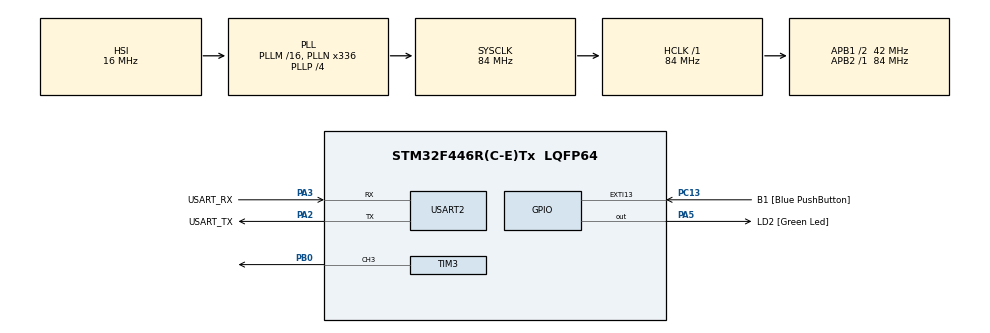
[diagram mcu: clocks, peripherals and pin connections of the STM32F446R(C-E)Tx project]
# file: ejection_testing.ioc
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Mcu.Family=STM32F4
Mcu.Name=STM32F446R(C-E)Tx
Mcu.Package=LQFP64
NVIC.PriorityGroup=NVIC_PRIORITYGROUP_0
PA13.GPIO_Label=TMS
PA13.Mode=Serial_Wire
PA13.Signal=SYS_JTMS-SWDIO
PA14.GPIO_Label=TCK
PA14.Mode=Serial_Wire
PA14.Signal=SYS_JTCK-SWCLK
PA2.GPIO_Label=USART_TX
PA2.Mode=Asynchronous
PA2.Signal=USART2_TX
PA3.GPIO_Label=USART_RX
PA3.Mode=Asynchronous
PA3.Signal=USART2_RX
PA5.GPIO_Label=LD2 [Green Led]
PA5.Signal=GPIO_Output
PB0.Signal=S_TIM3_CH3
PB3.GPIO_Label=SWO
PB3.Signal=SYS_JTDO-SWO
PC13.GPIO_Label=B1 [Blue PushButton]
PC13.GPIO_ModeDefaultEXTI=GPIO_MODE_IT_FALLING
PC13.Signal=GPXTI13
PC14-OSC32_IN.Mode=LSE-External-Oscillator
PC14-OSC32_IN.Signal=RCC_OSC32_IN
PC15-OSC32_OUT.Mode=LSE-External-Oscillator
PC15-OSC32_OUT.Signal=RCC_OSC32_OUT
PH0-OSC_IN.Mode=HSE-External-Oscillator
PH0-OSC_IN.Signal=RCC_OSC_IN
PH1-OSC_OUT.Mode=HSE-External-Oscillator
PH1-OSC_OUT.Signal=RCC_OSC_OUT
ProjectManager.HeapSize=0x200
ProjectManager.StackSize=0x400
ProjectManager.TargetToolchain=CMake
RCC.48MHZClocksFreq_Value=84000000
RCC.AHBFreq_Value=84000000
RCC.APB1CLKDivider=RCC_HCLK_DIV2
RCC.APB1Freq_Value=42000000
RCC.APB1TimFreq_Value=84000000
RCC.APB2Freq_Value=84000000
RCC.APB2TimFreq_Value=84000000
RCC.CortexFreq_Value=84000000
RCC.FLatency-AdvancedSettings=FLASH_LATENCY_2
RCC.HCLKFreq_Value=84000000
RCC.HSE_VALUE=8000000
RCC.HSI_VALUE=16000000
RCC.PLLN=336
RCC.PLLP=RCC_PLLP_DIV4
RCC.SYSCLKFreq_VALUE=84000000
RCC.SYSCLKSource=RCC_SYSCLKSOURCE_PLLCLK
RCC.USBFreq_Value=168000000
RCC.VCOOutputFreq_Value=336000000
SH.S_TIM3_CH3.0=TIM3_CH3,PWM Generation3 CH3
TIM3.Channel-PWM\ Generation3\ CH3=TIM_CHANNEL_3
TIM3.Period=19999
TIM3.Prescaler=83
TIM3.Pulse-PWM\ Generation3\ CH3=2100
USART2.VirtualMode=VM_ASYNC
board=NUCLEO-F446RE

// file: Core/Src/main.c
/* USER CODE BEGIN Header */
/**
  ******************************************************************************
  * @file           : main.c
  * @brief          : Main program body
  ******************************************************************************
  * @attention
  *
  * Copyright (c) 2026 STMicroelectronics.
  * All rights reserved.
  *
  * This software is licensed under terms that can be found in the LICENSE file
  * in the root directory of this software component.
  * If no LICENSE file comes with this software, it is provided AS-IS.
  *
  ******************************************************************************
  */
/* USER CODE END Header */
#include "main.h"

/* USER CODE BEGIN PD */

#define EJECT_ARMED_US      2000   // latch engaged, horn clear
#define EJECT_KNOCK_US      600   // TUNE THIS against the latch
#define EJECT_DWELL_MS       500   // time at knock before returning
#define EJECT_COUNTDOWN_MS  5000   // hands-clear delay after boot

/* USER CODE END PD */

TIM_HandleTypeDef htim3;

UART_HandleTypeDef huart2;

void SystemClock_Config(void);
static void MX_GPIO_Init(void);
static void MX_USART2_UART_Init(void);
static void MX_TIM3_Init(void);

int main(void)
{

  /* MCU Configuration--------------------------------------------------------*/

  /* Reset of all peripherals, Initializes the Flash interface and the Systick. */
    HAL_Init();

  /* Configure the system clock */
  SystemClock_Config();

  /* Initialize all configured peripherals */
  MX_GPIO_Init();
  MX_USART2_UART_Init();
  MX_TIM3_Init();
  /* USER CODE BEGIN 2 */

  // Compare register set BEFORE the channel is enabled, so the very
  // first pulse out of PB0 is the armed position. Never 1500.
  __HAL_TIM_SET_COMPARE(&htim3, TIM_CHANNEL_3, EJECT_ARMED_US);
  HAL_TIM_PWM_Start(&htim3, TIM_CHANNEL_3);

  // Countdown: LD2 blinks once per 500 ms. Hands clear.
  for (int i = 0; i < (EJECT_COUNTDOWN_MS / 500); i++)
  {
    HAL_GPIO_WritePin(LD2_GPIO_Port, LD2_Pin, GPIO_PIN_SET);
    HAL_Delay(100);
    HAL_GPIO_WritePin(LD2_GPIO_Port, LD2_Pin, GPIO_PIN_RESET);
    HAL_Delay(400);
  }

  // Fire: solid LED for the duration of the swing
  HAL_GPIO_WritePin(LD2_GPIO_Port, LD2_Pin, GPIO_PIN_SET);
  __HAL_TIM_SET_COMPARE(&htim3, TIM_CHANNEL_3, EJECT_KNOCK_US);
  HAL_Delay(EJECT_DWELL_MS);
  __HAL_TIM_SET_COMPARE(&htim3, TIM_CHANNEL_3, EJECT_ARMED_US);
  HAL_Delay(EJECT_DWELL_MS);
  HAL_GPIO_WritePin(LD2_GPIO_Port, LD2_Pin, GPIO_PIN_RESET);

  /* USER CODE END 2 */

  /* Infinite loop */
  while (1)
  {

  }
}

void SystemClock_Config(void)
{
  RCC_OscInitTypeDef RCC_OscInitStruct = {0};
  RCC_ClkInitTypeDef RCC_ClkInitStruct = {0};

  /** Configure the main internal regulator output voltage
  */
  __HAL_RCC_PWR_CLK_ENABLE();
  __HAL_PWR_VOLTAGESCALING_CONFIG(PWR_REGULATOR_VOLTAGE_SCALE3);

  /** Initializes the RCC Oscillators according to the specified parameters
  * in the RCC_OscInitTypeDef structure.
  */
  RCC_OscInitStruct.OscillatorType = RCC_OSCILLATORTYPE_HSI;
  RCC_OscInitStruct.HSIState = RCC_HSI_ON;
  RCC_OscInitStruct.HSICalibrationValue = RCC_HSICALIBRATION_DEFAULT;
  RCC_OscInitStruct.PLL.PLLState = RCC_PLL_ON;
  RCC_OscInitStruct.PLL.PLLSource = RCC_PLLSOURCE_HSI;
  RCC_OscInitStruct.PLL.PLLM = 16;
  RCC_OscInitStruct.PLL.PLLN = 336;
  RCC_OscInitStruct.PLL.PLLP = RCC_PLLP_DIV4;
  RCC_OscInitStruct.PLL.PLLQ = 2;
  RCC_OscInitStruct.PLL.PLLR = 2;
  if (HAL_RCC_OscConfig(&RCC_OscInitStruct) != HAL_OK)
  {
    Error_Handler();
  }

  /** Initializes the CPU, AHB and APB buses clocks
  */
  RCC_ClkInitStruct.ClockType = RCC_CLOCKTYPE_HCLK|RCC_CLOCKTYPE_SYSCLK
                              |RCC_CLOCKTYPE_PCLK1|RCC_CLOCKTYPE_PCLK2;
  RCC_ClkInitStruct.SYSCLKSource = RCC_SYSCLKSOURCE_PLLCLK;
  RCC_ClkInitStruct.AHBCLKDivider = RCC_SYSCLK_DIV1;
  RCC_ClkInitStruct.APB1CLKDivider = RCC_HCLK_DIV2;
  RCC_ClkInitStruct.APB2CLKDivider = RCC_HCLK_DIV1;

  if (HAL_RCC_ClockConfig(&RCC_ClkInitStruct, FLASH_LATENCY_2) != HAL_OK)
  {
    Error_Handler();
  }
}

static void MX_TIM3_Init(void)
{

  TIM_MasterConfigTypeDef sMasterConfig = {0};
  TIM_OC_InitTypeDef sConfigOC = {0};

  htim3.Instance = TIM3;
  htim3.Init.Prescaler = 83;
  htim3.Init.CounterMode = TIM_COUNTERMODE_UP;
  htim3.Init.Period = 19999;
  htim3.Init.ClockDivision = TIM_CLOCKDIVISION_DIV1;
  htim3.Init.AutoReloadPreload = TIM_AUTORELOAD_PRELOAD_DISABLE;
  if (HAL_TIM_PWM_Init(&htim3) != HAL_OK)
  {
    Error_Handler();
  }
  sMasterConfig.MasterOutputTrigger = TIM_TRGO_RESET;
  sMasterConfig.MasterSlaveMode = TIM_MASTERSLAVEMODE_DISABLE;
  if (HAL_TIMEx_MasterConfigSynchronization(&htim3, &sMasterConfig) != HAL_OK)
  {
    Error_Handler();
  }
  sConfigOC.OCMode = TIM_OCMODE_PWM1;
  sConfigOC.Pulse = 2100;
  sConfigOC.OCPolarity = TIM_OCPOLARITY_HIGH;
  sConfigOC.OCFastMode = TIM_OCFAST_DISABLE;
  if (HAL_TIM_PWM_ConfigChannel(&htim3, &sConfigOC, TIM_CHANNEL_3) != HAL_OK)
  {
    Error_Handler();
  }
  HAL_TIM_MspPostInit(&htim3);

}

static void MX_USART2_UART_Init(void)
{

  huart2.Instance = USART2;
  huart2.Init.BaudRate = 115200;
  huart2.Init.WordLength = UART_WORDLENGTH_8B;
  huart2.Init.StopBits = UART_STOPBITS_1;
  huart2.Init.Parity = UART_PARITY_NONE;
  huart2.Init.Mode = UART_MODE_TX_RX;
  huart2.Init.HwFlowCtl = UART_HWCONTROL_NONE;
  huart2.Init.OverSampling = UART_OVERSAMPLING_16;
  if (HAL_UART_Init(&huart2) != HAL_OK)
  {
    Error_Handler();
  }

}

static void MX_GPIO_Init(void)
{
  GPIO_InitTypeDef GPIO_InitStruct = {0};

  /* GPIO Ports Clock Enable */
  __HAL_RCC_GPIOC_CLK_ENABLE();
  __HAL_RCC_GPIOH_CLK_ENABLE();
  __HAL_RCC_GPIOA_CLK_ENABLE();
  __HAL_RCC_GPIOB_CLK_ENABLE();

  /*Configure GPIO pin Output Level */
  HAL_GPIO_WritePin(LD2_GPIO_Port, LD2_Pin, GPIO_PIN_RESET);

  /*Configure GPIO pin : B1_Pin */
  GPIO_InitStruct.Pin = B1_Pin;
  GPIO_InitStruct.Mode = GPIO_MODE_IT_FALLING;
  GPIO_InitStruct.Pull = GPIO_NOPULL;
  HAL_GPIO_Init(B1_GPIO_Port, &GPIO_InitStruct);

  /*Configure GPIO pin : LD2_Pin */
  GPIO_InitStruct.Pin = LD2_Pin;
  GPIO_InitStruct.Mode = GPIO_MODE_OUTPUT_PP;
  GPIO_InitStruct.Pull = GPIO_NOPULL;
  GPIO_InitStruct.Speed = GPIO_SPEED_FREQ_LOW;
  HAL_GPIO_Init(LD2_GPIO_Port, &GPIO_InitStruct);

}

void Error_Handler(void)
{
  __disable_irq();
  while (1)
  {
  }
}
